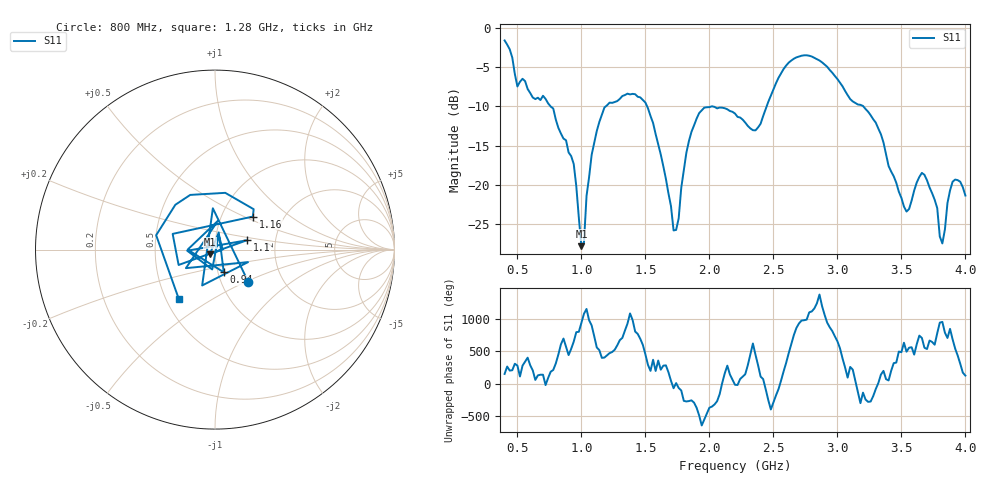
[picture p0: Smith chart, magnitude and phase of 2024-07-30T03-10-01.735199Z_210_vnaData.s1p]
!Created with skrf (http://scikit-rf.org).
# Hz S RI R 50.0
!freq ReS11 ImS11
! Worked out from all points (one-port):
!   181 points, 400 MHz to 4 GHz, reference 50 ohm
!   lowest |S11| = -27.9 dB at 1 GHz (marker M1), VSWR 1.08, Z = 47 - j2.56 ohm
!   |S11| at or under -10 dB: 759.4 MHz to 1.19 GHz (430.2 MHz wide, 44.1 % of centre); 1.514 GHz to 2.016 GHz (502.1 MHz wide, 28.5 % of centre); 3.203 GHz to end of sweep (the widest 3 of 4)
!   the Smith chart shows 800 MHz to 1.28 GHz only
!   S11 on the Smith chart (normalised r, x): 800 MHz: 1.34, -0.52; 940 MHz: 1.07, -0.27; 1.1 GHz: 1.42, +0.15; 1.16 GHz: 1.40, +0.56; 1.28 GHz: 0.58, -0.37
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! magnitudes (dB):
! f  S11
! 400 MHz  -1.6
! 500 MHz  -7.4
! 800 MHz  -11.7
! 860 MHz  -14.1
! 940 MHz  -17.4
! 1 GHz  -27.9
! 1.02 GHz  -27.4
! 1.04 GHz  -21.5
! 1.1 GHz  -14.7
! 1.16 GHz  -11.1
! 1.28 GHz  -9.3
! 1.3 GHz  -9.0
! 1.5 GHz  -9.5
! 1.62 GHz  -16.1
! 1.72 GHz  -25.9
! 1.76 GHz  -24.3
! 1.82 GHz  -15.9
! 1.92 GHz  -10.8
! 2.2 GHz  -10.9
! 2.36 GHz  -13.1
! 2.66 GHz  -3.9
! 3.1 GHz  -9.1
! 3.3 GHz  -12.1
! 3.56 GHz  -23.1
! 3.68 GHz  -18.7
! 3.82 GHz  -27.5
! 3.9 GHz  -19.6
! 4 GHz  -21.4
